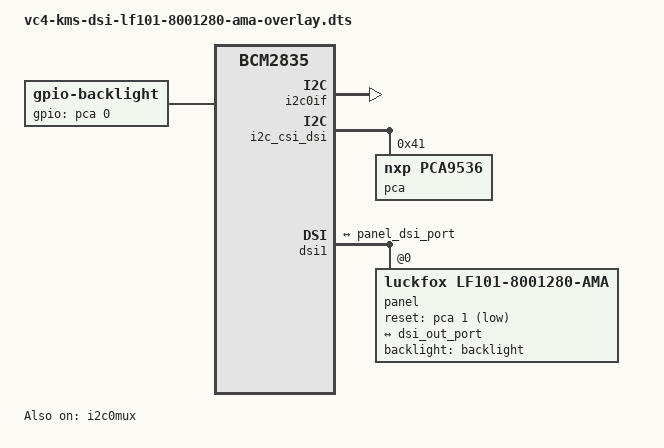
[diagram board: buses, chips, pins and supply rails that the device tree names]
/*
 * Device Tree overlay to connect a LF101-8001280-AMA DSI panel to DSI1.
 */

/dts-v1/;
/plugin/;

#include <dt-bindings/gpio/gpio.h>

/ {
	compatible = "brcm,bcm2835";

	fragment@0{
		target = <&i2c0mux>;
		__overlay__ {
			status = "okay";
		};
	};

	fragment@1{
		target = <&i2c0if>;
		__overlay__ {
			status = "okay";
		};
	};

	fragment@2{
		target = <&i2c_csi_dsi>;
		__overlay__ {
			#address-cells = <1>;
			#size-cells = <0>;
			status = "okay";

			pca: pca@41 {
				compatible = "nxp,pca9536";
				reg = <0x41>;
				gpio-controller;
				#gpio-cells = <2>;
				status = "okay";
			};
		};
	};


	fragment@3 {
		target-path = "/";
		__overlay__ {
			backlight: backlight {
				compatible = "gpio-backlight";
				gpios = <&pca 0 GPIO_ACTIVE_HIGH>;
			};
		};
	};

	fragment@4 {
		target = <&dsi1>;
		__overlay__{
			status = "okay";
			#address-cells = <1>;
			#size-cells = <0>;
			port {
				dsi_out_port:endpoint {
					remote-endpoint = <&panel_dsi_port>;
				};
			};

			panel@0 {
				compatible    = "luckfox,lf101-8001280-ama";
				status        = "okay";
				reg           = <0>;
				backlight     = <&backlight>;
		        reset-gpios   = <&pca 1 GPIO_ACTIVE_LOW>;              
				port {
					panel_dsi_port: endpoint {
						remote-endpoint = <&dsi_out_port>;
					};
				};
			};
		};
	};

};
